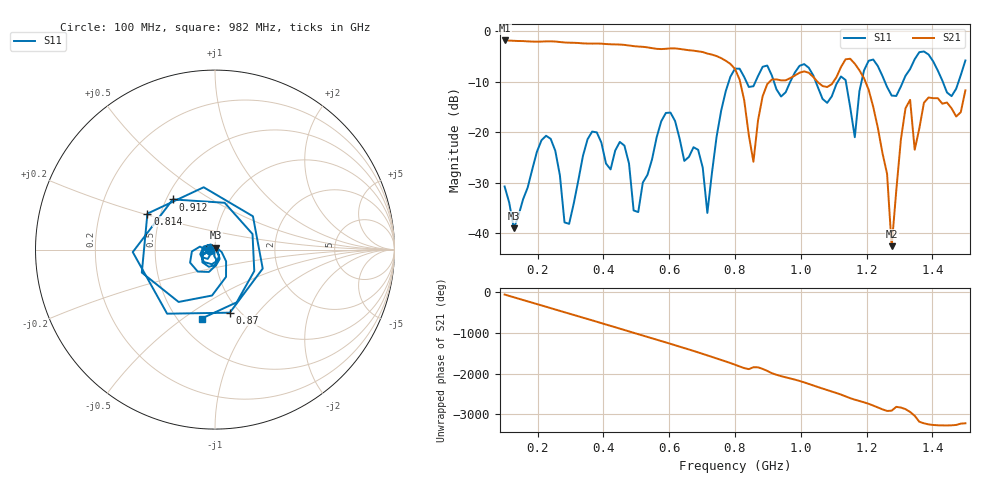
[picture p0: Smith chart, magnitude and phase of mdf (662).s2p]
! NanoVNA-App
! Date: 2025-09-25 15:43:34
! Start: 100MHz Stop: 1,5GHz Points: 101
! S-Parameter data: F S11 S21 S12 S22
# Hz S RI R 50
!  Frequency  S11_Real  S11_Imag  S21_Real  S21_Imag  S12_Real  S12_Imag  S22_Real  S22_Imag
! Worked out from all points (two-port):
!   101 points, 100 MHz to 1.5 GHz, reference 50 ohm
!   highest |S21| = -1.80 dB at 100 MHz (marker M1); lowest = -42.6 dB at 1.276 GHz (marker M2)
!   |S21| within 3 dB of the highest: start of sweep to 739.4 MHz
!   lowest |S11| = -39.0 dB at 128 MHz (marker M3), VSWR 1.02, Z = 50.3 + j1.07 ohm
!   |S11| at or under -10 dB: start of sweep to 781 MHz; 1.045 GHz to 1.112 GHz (66.84 MHz wide, 6.2 % of centre); 1.255 GHz to 1.31 GHz (54.62 MHz wide, 4.26 % of centre) (the widest 3 of 7)
!   S12 and S22 are empty: the file has one direction only
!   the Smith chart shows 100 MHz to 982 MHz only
!   S11 on the Smith chart (normalised r, x): 100 MHz: 0.94, -0.01; 814 MHz: 0.42, +0.21; 870 MHz: 0.90, -0.73; 912 MHz: 0.54, +0.35; 982 MHz: 0.65, -0.59
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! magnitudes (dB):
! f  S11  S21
! 100 MHz  -30.7  -1.8
! 128 MHz  -39.0  -1.9
! 212 MHz  -21.6  -2.0
! 282 MHz  -37.9  -2.2
! 338 MHz  -24.7  -2.4
! 464 MHz  -22.6  -2.7
! 506 MHz  -35.8  -3.0
! 576 MHz  -17.8  -3.5
! 688 MHz  -23.5  -4.0
! 716 MHz  -36.0  -4.4
! 800 MHz  -7.4  -7.4
! 814 MHz  -7.4  -9.6
! 856 MHz  -10.9  -25.8
! 870 MHz  -8.8  -17.6
! 912 MHz  -8.7  -9.5
! 982 MHz  -8.2  -8.7
! 1.038 GHz  -8.7  -9.0
! 1.164 GHz  -21.0  -6.4
! 1.192 GHz  -7.7  -9.3
! 1.276 GHz  -12.7  -42.6
! 1.318 GHz  -8.8  -15.2
! 1.5 GHz  -5.8  -11.7
